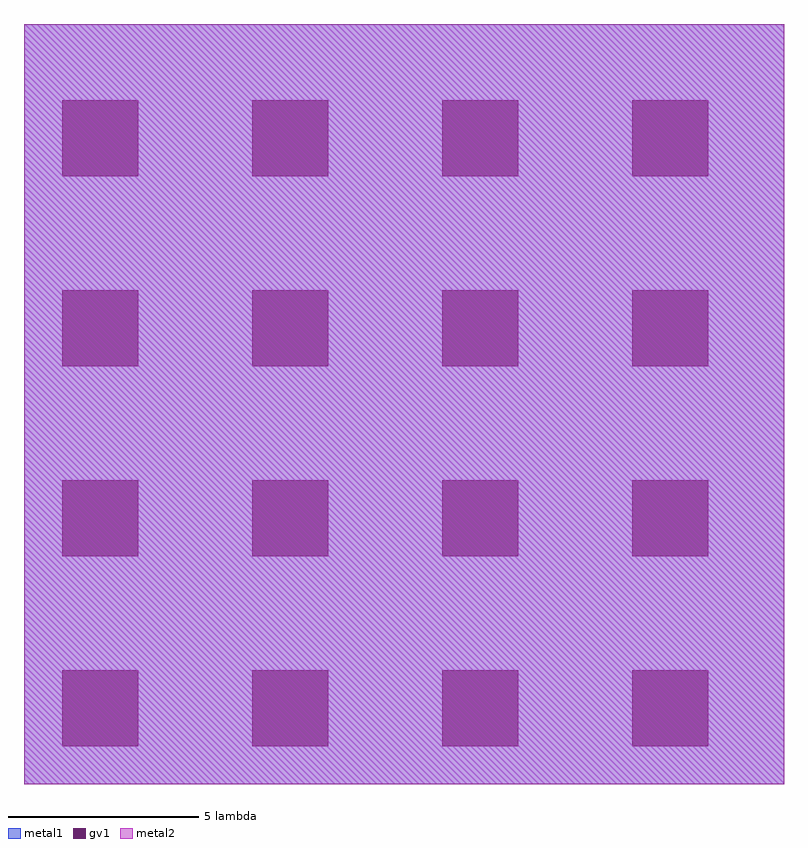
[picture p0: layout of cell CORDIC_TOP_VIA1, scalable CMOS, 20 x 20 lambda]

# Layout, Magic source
magic
tech scmos
<< metal1 >>
rect -10 -10 10 10
<< metal2 >>
rect -10 -10 10 10
<< gv1 >>
rect -9 6 -7 8
rect -4 6 -2 8
rect 1 6 3 8
rect 6 6 8 8
rect -9 1 -7 3
rect -4 1 -2 3
rect 1 1 3 3
rect 6 1 8 3
rect -9 -4 -7 -2
rect -4 -4 -2 -2
rect 1 -4 3 -2
rect 6 -4 8 -2
rect -9 -9 -7 -7
rect -4 -9 -2 -7
rect 1 -9 3 -7
rect 6 -9 8 -7
<< end >>
